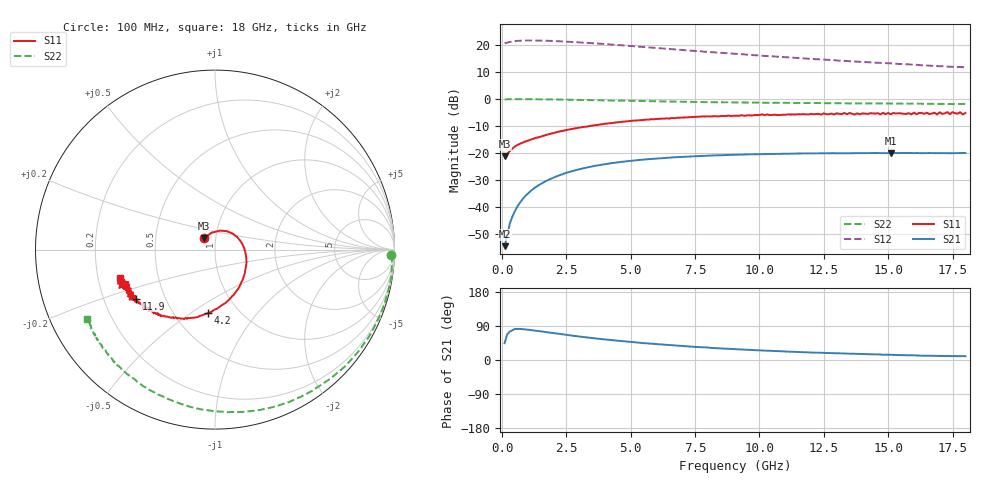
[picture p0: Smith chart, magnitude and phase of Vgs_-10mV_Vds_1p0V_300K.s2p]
#  HZ  S  DB  R  50.00
! Rohde & Schwarz ZVA50 4Ports - Version 4.11 - 1145.1110k52 SN: 100136
! Date: 2022-09-20 22:21:32
! Measurements: S11 S21 S12 S22
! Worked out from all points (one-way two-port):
!   180 points, 100 MHz to 18 GHz, reference 50 ohm
!   highest |S21| = -19.90 dB at 15.1 GHz (marker M1); lowest = -54.3 dB at 100 MHz (marker M2)
!   lowest |S11| = -21.1 dB at 100 MHz (marker M3), VSWR 1.19, Z = 44 + j5.71 ohm
!   |S11| at or under -10 dB: start of sweep to 3.407 GHz
!   |S22| runs from -1.9 to -0.1 dB; largest |S21 - S12| = 12
!   S11 on the Smith chart (normalised r, x): 100 MHz: 0.88, +0.11; 4.2 GHz: 0.72, -0.59; 11.9 GHz: 0.34, -0.25; 18 GHz: 0.29, -0.13
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1e8  -21.13 132.9  -54.32 44.3  20.54 -178.3  -0.14 -1.7
3e8  -19.26 76.0  -46.04 75.0  21.01 -178.5  -0.09 -5.1
5e8  -17.54 42.4  -41.39 82.0  21.34 179.2  -0.06 -8.8
6e8  -16.96 29.7  -39.60 81.8  21.45 177.9  -0.07 -10.7
1e9  -15.40 -5.2  -34.95 79.9  21.59 172.7  -0.08 -17.8
1.5e9  -13.89 -32.6  -31.40 75.6  21.55 166.7  -0.12 -26.7
2.1e9  -12.29 -54.6  -28.61 70.1  21.34 160.1  -0.20 -36.9
2.5e9  -11.43 -65.7  -27.24 66.4  21.15 156.2  -0.25 -43.4
3.1e9  -10.41 -78.4  -25.69 61.2  20.81 150.7  -0.38 -52.4
3.6e9  -9.68 -87.6  -24.69 57.3  20.52 146.3  -0.45 -59.8
4.2e9  -8.93 -96.6  -23.77 52.9  20.11 141.5  -0.56 -68.1
5e9  -8.09 -106.3  -22.85 47.8  19.55 135.7  -0.71 -77.9
6.1e9  -7.35 -116.5  -21.91 41.3  18.74 128.9  -0.90 -89.7
7.6e9  -6.58 -128.0  -21.11 34.2  17.63 121.1  -1.12 -103.4
9.1e9  -6.18 -135.0  -20.54 28.4  16.65 114.8  -1.27 -114.3
1.01e10  -5.71 -140.1  -20.38 25.1  15.94 111.0  -1.38 -120.8
1.19e10  -5.73 -148.1  -20.09 20.1  14.86 105.2  -1.48 -130.5
1.21e10  -5.65 -147.1  -20.09 19.6  14.73 104.7  -1.53 -131.2
1.34e10  -5.64 -151.9  -20.01 16.8  14.01 101.1  -1.60 -136.8
1.51e10  -5.64 -153.4  -19.90 14.0  13.16 97.3  -1.67 -142.8
1.63e10  -5.15 -156.8  -20.02 11.4  12.42 94.6  -1.77 -147.7
1.8e10  -5.17 -163.6  -19.93 9.9  11.73 91.5  -1.82 -151.7
